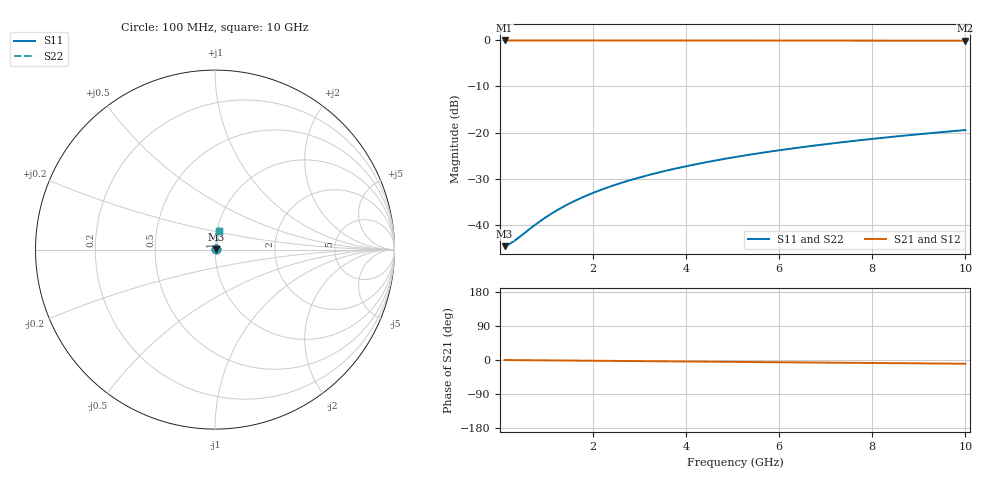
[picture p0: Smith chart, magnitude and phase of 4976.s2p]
# Hz S RI R 50.00
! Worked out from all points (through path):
!   100 points, 100 MHz to 10 GHz, reference 50 ohm
!   highest |S21| = -0.05 dB at 100 MHz (marker M1); lowest = -0.1 dB at 10 GHz (marker M2)
!   group delay of S21, straight-line fit = 2.73 ps
!   lowest |S11| = -44.6 dB at 100 MHz (marker M3), VSWR 1.01, Z = 50.6 + j0.107 ohm
!   |S11| at or under -10 dB: start of sweep to end of sweep
!   |S22| runs from -44.6 to -19.4 dB; largest |S21 - S12| = 0
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1e8  0.00581 0.00106  0.9942 -0.00171  0.9942 -0.00171  0.00581 0.00106
2e8  0.00585 0.00212  0.9941 -0.00341  0.9941 -0.00341  0.00585 0.00212
3e8  0.00589 0.00318  0.9941 -0.00512  0.9941 -0.00512  0.00589 0.00318
8e8  0.00607 0.00848  0.9939 -0.0137  0.9939 -0.0137  0.00607 0.00848
9e8  0.00612 0.00954  0.9939 -0.0154  0.9939 -0.0154  0.00612 0.00954
1.1e9  0.00621 0.0117  0.9938 -0.0188  0.9938 -0.0188  0.00621 0.0117
1.4e9  0.00638 0.0148  0.9936 -0.0239  0.9936 -0.0239  0.00638 0.0148
1.6e9  0.00651 0.017  0.9934 -0.0273  0.9934 -0.0273  0.00651 0.017
1.8e9  0.00665 0.0191  0.9933 -0.0307  0.9933 -0.0307  0.00665 0.0191
2.1e9  0.00688 0.0222  0.993 -0.0358  0.993 -0.0358  0.00688 0.0222
2.5e9  0.00724 0.0265  0.9926 -0.0426  0.9926 -0.0426  0.00724 0.0265
2.9e9  0.00766 0.0307  0.9921 -0.0494  0.9921 -0.0494  0.00766 0.0307
3.4e9  0.00826 0.036  0.9915 -0.0579  0.9915 -0.0579  0.00826 0.036
3.8e9  0.00881 0.0402  0.9909 -0.0647  0.9909 -0.0647  0.00881 0.0402
4.2e9  0.00941 0.0444  0.9902 -0.0715  0.9902 -0.0715  0.00941 0.0444
4.6e9  0.0101 0.0485  0.9895 -0.0783  0.9895 -0.0783  0.0101 0.0485
5.1e9  0.011 0.0538  0.9885 -0.0868  0.9885 -0.0868  0.011 0.0538
5.9e9  0.0126 0.0621  0.9866 -0.1003  0.9866 -0.1003  0.0126 0.0621
6.7e9  0.0144 0.0703  0.9846 -0.1137  0.9846 -0.1137  0.0144 0.0703
7.5e9  0.0165 0.0785  0.9822 -0.1271  0.9822 -0.1271  0.0165 0.0785
8.4e9  0.0191 0.0877  0.9793 -0.1421  0.9793 -0.1421  0.0191 0.0877
1e10  0.0244 0.1037  0.9734 -0.1686  0.9734 -0.1686  0.0244 0.1037
